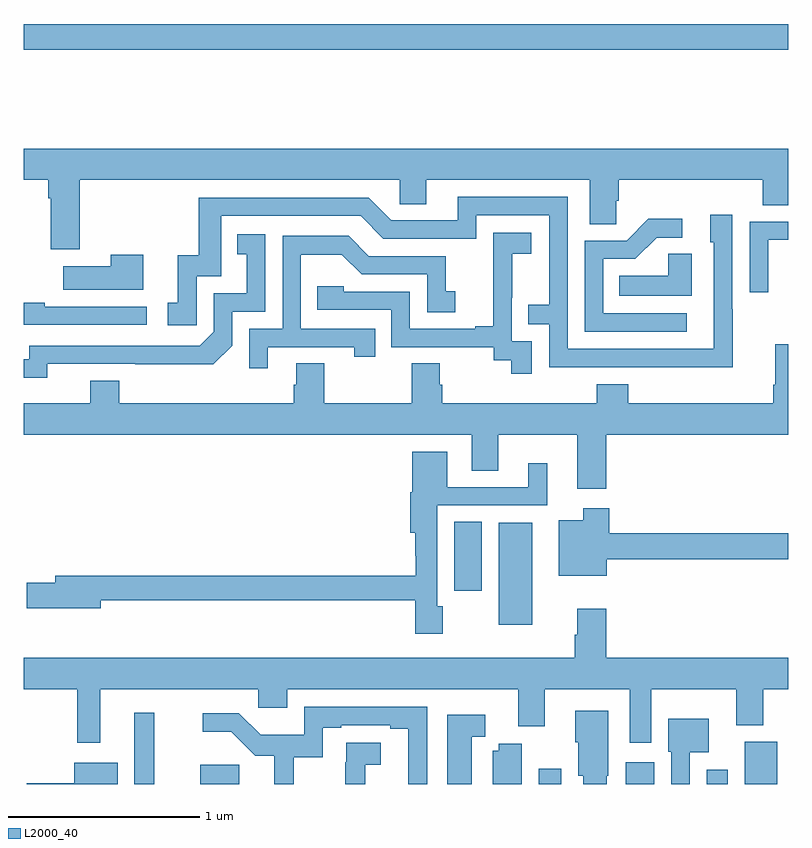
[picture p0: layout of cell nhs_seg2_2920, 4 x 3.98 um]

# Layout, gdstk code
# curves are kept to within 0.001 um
import gdstk
lib = gdstk.Library(unit=1e-6, precision=1e-09)
def R(c, l, rs):  # rectangles x0, y0, x1, y1
    for r in rs: c.add(gdstk.rectangle(r[:2], r[2:], *l))
def P(c, l, *ps):  # polygons
    for p in ps: c.add(gdstk.Polygon(p, *l))
L2000_40 = (2000, 40)

nhs_seg2_2920 = lib.new_cell('nhs_seg2_2920')
R(nhs_seg2_2920, L2000_40, [(263.579,653.8,263.683,654.172), (263.924,653.8,264.127,653.901), (265.695,653.8,265.812,653.881), (266.15,653.8,266.299,653.914), (266.573,653.8,266.683,653.875), (266.771,653.8,266.941,654.022), (265.484,654.632,265.66,655.168), (265.253,654.81,265.396,655.172), (263,657.64,267,657.776)])
P(nhs_seg2_2920, L2000_40, [(263.294,656.96),(264.966,656.96),(264.966,656.833),(265.105,656.833),(265.105,656.96),(265.961,656.96),(265.961,656.728),(266.1,656.728),(266.1,656.851),(266.114,656.851),(266.114,656.96),(266.867,656.96),(266.867,656.827),(267,656.827),(267,657.124),(263,657.124),(263,656.96),(263.129,656.96),(263.129,656.864),(263.141,656.864),(263.141,656.598),(263.294,656.598)],
  [(266.709,656.285),(266.706,656.285),(266.706,656.779),(266.591,656.779),(266.591,656.634),(266.61,656.634),(266.61,656.076),(265.845,656.076),(265.845,656.871),(265.271,656.871),(265.271,656.748),(264.924,656.748),(264.804,656.868),(263.917,656.868),(263.917,656.566),(263.807,656.566),(263.807,656.319),(263.754,656.319),(263.754,656.199),(263.904,656.199),(263.904,656.457),(264.033,656.457),(264.033,656.772),(264.762,656.772),(264.882,656.652),(265.368,656.652),(265.368,656.775),(265.749,656.775),(265.749,656.306),(265.639,656.306),(265.639,656.205),(265.749,656.205),(265.749,655.98),(266.709,655.979)],
  [(266.47,656.262),(266.031,656.262),(266.031,656.547),(266.2,656.547),(266.311,656.658),(266.446,656.658),(266.446,656.756),(266.267,656.756),(266.154,656.643),(265.935,656.643),(265.935,656.166),(266.47,656.166)],
  [(266.895,656.646),(267,656.646),(267,656.742),(266.799,656.742),(266.799,656.373),(266.895,656.373)],
  [(265.659,656.115),(265.554,656.115),(265.554,656.345),(265.556,656.345),(265.556,656.573),(265.654,656.573),(265.654,656.683),(265.456,656.683),(265.456,656.477),(265.457,656.477),(265.457,656.194),(265.361,656.194),(265.361,656.181),(265.02,656.181),(265.02,656.376),(264.675,656.376),(264.675,656.403),(264.535,656.403),(264.535,656.28),(264.924,656.28),(264.924,656.085),(265.458,656.085),(265.458,656.017),(265.551,656.017),(265.551,655.947),(265.659,655.947)],
  [(263.124,655.998),(263.992,655.997),(264.09,656.094),(264.09,656.271),(264.264,656.271),(264.264,656.677),(264.118,656.677),(264.118,656.571),(264.167,656.571),(264.167,656.367),(263.994,656.367),(263.994,656.166),(263.922,656.094),(263.028,656.094),(263.028,656.022),(263,656.022),(263,655.925),(263.124,655.925)],
  [(264.277,656.085),(264.728,656.085),(264.728,656.034),(264.839,656.034),(264.839,656.181),(264.45,656.181),(264.45,656.57),(264.664,656.57),(264.768,656.466),(265.11,656.466),(265.11,656.268),(265.258,656.268),(265.258,656.377),(265.209,656.377),(265.209,656.562),(264.805,656.562),(264.7,656.667),(264.354,656.667),(264.354,656.181),(264.18,656.181),(264.18,655.974),(264.277,655.974)],
  [(266.494,656.573),(266.373,656.573),(266.373,656.458),(266.116,656.458),(266.116,656.354),(266.494,656.354)],
  [(263.626,656.569),(263.456,656.569),(263.456,656.509),(263.207,656.509),(263.207,656.387),(263.626,656.387)],
  [(263.644,656.298),(263.111,656.298),(263.111,656.318),(263,656.318),(263,656.202),(263.644,656.202)],
  [(266.048,655.628),(267,655.628),(267,656.101),(266.933,656.101),(266.933,655.888),(266.921,655.888),(266.921,655.792),(266.162,655.792),(266.162,655.891),(265.997,655.891),(265.997,655.792),(265.19,655.792),(265.19,655.89),(265.177,655.89),(265.177,656),(265.03,656),(265.03,655.792),(264.573,655.792),(264.573,656),(264.425,656),(264.425,655.89),(264.413,655.89),(264.413,655.792),(263.501,655.792),(263.501,655.909),(263.348,655.909),(263.348,655.792),(263,655.792),(263,655.628),(265.343,655.628),(265.343,655.438),(265.483,655.438),(265.483,655.628),(265.895,655.628),(265.895,655.344),(266.048,655.344)],
  [(265.191,654.729),(265.164,654.729),(265.164,655.257),(265.738,655.257),(265.738,655.477),(265.64,655.477),(265.64,655.353),(265.216,655.353),(265.216,655.537),(265.034,655.537),(265.034,655.326),(265.022,655.326),(265.022,655.115),(265.048,655.115),(265.048,654.993),(265.052,654.993),(265.052,654.89),(263.165,654.89),(263.165,654.854),(263.016,654.854),(263.016,654.719),(263.404,654.719),(263.404,654.762),(265.048,654.762),(265.048,654.585),(265.191,654.585)],
  [(266.05,654.976),(267,654.976),(267,655.112),(266.063,655.112),(266.063,655.243),(265.928,655.243),(265.928,655.18),(265.799,655.18),(265.799,654.89),(266.05,654.89)],
  [(263.401,654.296),(264.228,654.296),(264.228,654.198),(264.379,654.198),(264.379,654.296),(265.586,654.296),(265.586,654.102),(265.726,654.102),(265.726,654.296),(266.171,654.296),(266.171,654.015),(266.284,654.015),(266.284,654.296),(266.729,654.296),(266.729,654.107),(266.869,654.107),(266.869,654.296),(267,654.296),(267,654.46),(266.048,654.46),(266.048,654.718),(265.895,654.718),(265.895,654.581),(265.883,654.581),(265.883,654.46),(263,654.46),(263,654.296),(263.28,654.296),(263.28,654.015),(263.401,654.015)],
  [(264.413,653.941),(264.564,653.941),(264.564,654.094),(264.661,654.094),(264.661,654.108),(264.917,654.108),(264.917,654.088),(265.013,654.088),(265.012,653.8),(265.11,653.8),(265.11,654.204),(264.468,654.204),(264.468,654.058),(264.239,654.058),(264.126,654.171),(263.937,654.171),(263.937,654.074),(264.085,654.074),(264.211,653.949),(264.311,653.949),(264.311,653.8),(264.413,653.8)],
  [(266.05,653.844),(266.059,653.844),(266.059,654.184),(265.886,654.184),(265.886,654.018),(265.901,654.018),(265.901,653.844),(265.928,653.844),(265.928,653.8),(266.05,653.8)],
  [(265.345,654.048),(265.414,654.048),(265.414,654.163),(265.217,654.163),(265.217,653.8),(265.345,653.8)],
  [(266.484,653.966),(266.584,653.966),(266.584,654.142),(266.372,654.142),(266.372,653.97),(266.388,653.97),(266.388,653.8),(266.484,653.8)],
  [(264.786,653.902),(264.868,653.902),(264.868,654.017),(264.688,654.017),(264.688,653.915),(264.682,653.915),(264.682,653.8),(264.786,653.8)],
  [(265.606,654.011),(265.486,654.011),(265.486,653.974),(265.454,653.974),(265.454,653.8),(265.606,653.8)],
  [(263.491,653.911),(263.264,653.911),(263.264,653.805),(263.016,653.805),(263.016,653.8),(263.491,653.8)])

lib.write_gds('nhs_seg2_2920.gds')
